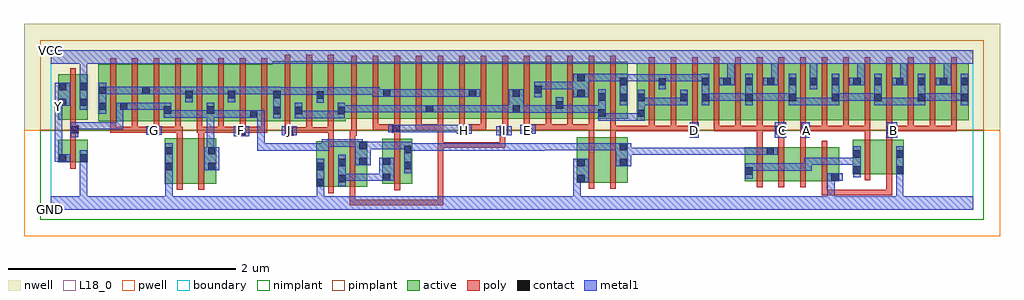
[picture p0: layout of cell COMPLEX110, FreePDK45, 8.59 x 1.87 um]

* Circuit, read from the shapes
.subckt COMPLEX110 A B C D E F G GND H I J VCC Y
M1 GND n1 Y VSUBS nfet w=0.2u l=0.05u
M2 n2 G GND VSUBS nfet w=0.4u l=0.05u
M3 n1 F n2 VSUBS nfet w=0.4u l=0.05u
M4 n3 J GND VSUBS nfet w=0.4u l=0.05u
M5 n1 I n3 VSUBS nfet w=0.4u l=0.05u
M6 n1 H n3 VSUBS nfet w=0.4u l=0.05u
M7 n4 E GND VSUBS nfet w=0.4u l=0.05u
M8 n1 D n4 VSUBS nfet w=0.4u l=0.05u
M9 n1 C n5 VSUBS nfet w=0.3u l=0.05u
M10 n6 C n1 VSUBS nfet w=0.3u l=0.05u
M11 n7 A n6 VSUBS nfet w=0.3u l=0.05u
M12 GND B n7 VSUBS nfet w=0.3u l=0.05u
M13 n8 A n5 VSUBS nfet w=0.3u l=0.05u
M14 GND B n8 VSUBS nfet w=0.3u l=0.05u
M15 VCC n1 Y n9 pfet w=0.4u l=0.05u
M16 n1 G n10 n9 pfet w=0.5u l=0.05u m=4
M17 n1 F n10 n9 pfet w=0.5u l=0.05u m=4
M18 n11 J n10 n9 pfet w=0.532u l=0.05u m=3
M19 n12 I n11 n9 pfet w=0.5u l=0.05u
M20 n10 H n12 n9 pfet w=0.5u l=0.05u
M21 n13 H n10 n9 pfet w=0.5u l=0.05u
M22 n11 I n13 n9 pfet w=0.5u l=0.05u
M23 n14 I n11 n9 pfet w=0.5u l=0.05u
M24 n10 H n14 n9 pfet w=0.5u l=0.05u
M25 n15 H n10 n9 pfet w=0.5u l=0.05u
M26 n11 I n15 n9 pfet w=0.5u l=0.05u
M27 n16 E n11 n9 pfet w=0.5u l=0.05u m=4
M28 n16 D n11 n9 pfet w=0.5u l=0.05u m=4
M29 VCC C n16 n9 pfet w=0.5u l=0.05u m=4
M30 VCC A n16 n9 pfet w=0.5u l=0.05u m=4
M31 VCC B n16 n9 pfet w=0.5u l=0.05u m=4
.ends

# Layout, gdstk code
import gdstk
lib = gdstk.Library(unit=1e-6, precision=1e-09)
def R(c, l, rs):  # rectangles x0, y0, x1, y1
    for r in rs: c.add(gdstk.rectangle(r[:2], r[2:], *l))
def A(c, l, x, y, w, h, nx, ny, dx, dy):  # array of equal rectangles
    R(c, l, [(x+i*dx, y+j*dy, x+i*dx+w, y+j*dy+h) for i in range(nx) for j in range(ny)])
active = (1, 0)
pwell = (2, 0)
nwell = (3, 0)
nimplant = (4, 0)
pimplant = (5, 0)
poly = (9, 0)
contact = (10, 0)
metal1 = (11, 0)
L18_0 = (18, 0)
boundary = (235, 0)

complex110 = lib.new_cell('COMPLEX110')
A(complex110, active, 0.8, 0.777, 0.265, 0.5, 3, 1, 0.19, 0)
A(complex110, active, 5.345, 0.787, 0.265, 0.5, 3, 1, 0.19, 0)
A(complex110, active, 4.06, 0.8, 0.265, 0.5, 3, 1, 0.19, 0)
A(complex110, active, 6.11, 0.807, 0.075, 0.393, 3, 1, 0.38, 0)
R(complex110, active, [(2.337,0.2,2.412,0.6), (2.337,0.2,2.602,0.6), (2.527,0.2,2.787,0.6), (2.527,0.2,2.602,0.492), (2.92,0.225,2.995,0.625), (2.92,0.225,3.18,0.625), (3.105,0.225,3.18,0.625), (1.005,0.227,1.23,0.627), (1.23,0.227,1.455,0.627), (4.63,0.237,4.855,0.637), (4.63,0.237,4.705,0.637), (4.855,0.237,5.08,0.637), (1.005,0.245,1.08,0.627), (1.38,0.245,1.455,0.627), (2.712,0.245,2.787,0.6), (5.005,0.245,5.08,0.637), (6.11,0.25,6.37,0.55), (6.295,0.25,6.525,0.55), (6.525,0.25,6.715,0.55), (6.715,0.25,6.94,0.55), (6.865,0.25,6.94,0.55), (6.11,0.302,6.185,0.55), (7.06,0.312,7.135,0.612), (7.06,0.312,7.285,0.612), (7.285,0.312,7.51,0.612), (7.435,0.312,7.51,0.612), (6.295,0.33,6.37,0.55), (0.067,0.415,0.142,0.615), (0.067,0.415,0.327,0.615), (0.252,0.415,0.327,0.615), (1.955,0.775,2.22,1.307), (2.145,0.775,2.41,1.307), (2.145,0.775,2.22,1.07), (2.335,0.775,2.595,1.307), (2.335,0.775,2.41,1.2), (0.42,0.777,0.68,1.277), (0.42,0.777,0.495,1.2), (0.605,0.777,0.875,1.277), (1.37,0.777,1.63,1.277), (1.555,0.777,1.825,1.277), (1.75,0.777,2.03,1.277), (5.16,0.787,5.42,1.287), (5.16,0.787,5.235,1.07), (5.915,0.787,6.185,1.287), (6.11,0.787,6.375,1.287), (6.3,0.787,6.565,1.287), (6.49,0.787,6.75,1.287), (6.675,0.787,6.945,1.287), (6.87,0.787,7.135,1.287), (7.06,0.787,7.32,1.287), (7.245,0.787,7.51,1.287), (7.435,0.787,7.7,1.287), (7.625,0.787,7.895,1.287), (7.82,0.787,8.08,1.287), (8.005,0.787,8.08,1.2), (0.067,0.79,0.327,1.19), (0.067,0.79,0.142,1.155), (0.252,0.79,0.327,1.155), (2.52,0.8,2.765,1.3), (2.52,0.8,2.595,1.07), (2.765,0.8,2.995,1.3), (2.92,0.8,3.145,1.3), (3.145,0.8,3.37,1.3), (3.295,0.8,3.525,1.3), (3.525,0.8,3.75,1.3), (3.675,0.8,3.905,1.3), (3.905,0.8,4.135,1.3), (4.63,0.8,4.89,1.3), (4.815,0.8,5.08,1.3), (5.005,0.8,5.08,1.2), (1.75,0.802,1.825,1.07), (0.605,0.807,0.68,1.07), (0.8,0.807,0.875,1.2), (0.99,0.807,1.065,1.07), (1.18,0.807,1.255,1.2), (1.37,0.807,1.445,1.07), (1.555,0.807,1.63,1.2), (1.955,0.807,2.03,1.2), (2.92,0.807,2.995,1.2), (3.295,0.807,3.37,1.07), (3.675,0.807,3.75,1.2), (4.06,0.807,4.135,1.2), (4.25,0.807,4.325,1.2), (4.44,0.807,4.515,1.07), (4.63,0.807,4.705,1.2), (4.815,0.807,4.89,1.07), (5.345,0.807,5.42,1.2), (5.535,0.807,5.61,1.07), (5.725,0.807,5.8,1.2), (5.915,0.807,5.99,1.255), (6.3,0.807,6.375,1.255), (6.675,0.807,6.75,1.255), (7.06,0.807,7.135,1.255), (7.245,0.807,7.32,1.2), (7.435,0.807,7.51,1.255), (7.625,0.807,7.7,1.2), (7.82,0.807,7.895,1.255)])
R(complex110, pwell, [(-0.235,-0.235,8.355,0.7)])
R(complex110, nwell, [(-0.235,0.7,8.355,1.635)])
R(complex110, nimplant, [(-0.09,-0.09,8.21,0.7)])
R(complex110, pimplant, [(-0.09,0.7,8.21,1.49)])
A(complex110, poly, 2.06, 0.675, 0.05, 0.095, 3, 1, 0.19, 0)
A(complex110, poly, 0.525, 0.677, 0.05, 0.095, 8, 1, 0.19, 0)
A(complex110, poly, 5.265, 0.687, 0.05, 0.095, 15, 1, 0.19, 0)
A(complex110, poly, 2.835, 0.7, 0.05, 0.095, 6, 1, 0.19, 0)
A(complex110, poly, 4.165, 0.7, 0.05, 0.095, 4, 1, 0.19, 0)
A(complex110, poly, 2.06, 0.72, 0.05, 0.642, 3, 1, 0.19, 0)
A(complex110, poly, 0.525, 0.722, 0.05, 0.61, 8, 1, 0.19, 0)
A(complex110, poly, 5.265, 0.732, 0.05, 0.61, 15, 1, 0.19, 0)
A(complex110, poly, 2.645, 0.745, 0.05, 0.61, 13, 1, 0.19, 0)
R(complex110, poly, [(2.632,0.037,2.682,0.087), (2.632,0.037,2.682,0.087), (2.632,0.037,2.682,0.087), (2.632,0.037,2.827,0.087), (2.632,0.037,2.682,0.195), (2.777,0.037,2.827,0.087), (2.777,0.037,2.827,0.087), (2.777,0.037,2.827,0.087), (2.777,0.037,3.017,0.087), (2.967,0.037,3.017,0.087), (2.967,0.037,3.017,0.087), (2.967,0.037,3.017,0.087), (2.967,0.037,3.207,0.087), (3.157,0.037,3.207,0.087), (3.157,0.037,3.207,0.087), (3.157,0.037,3.207,0.087), (3.157,0.037,3.455,0.087), (3.405,0.037,3.455,0.087), (3.405,0.037,3.455,0.087), (3.405,0.037,3.455,0.087), (3.405,0.037,3.455,0.592), (6.785,0.125,6.835,0.175), (6.785,0.125,6.835,0.175), (6.785,0.125,6.835,0.175), (6.785,0.125,6.835,0.245), (6.785,0.125,6.967,0.175), (6.917,0.125,6.967,0.175), (6.917,0.125,6.967,0.175), (6.917,0.125,6.967,0.175), (6.917,0.125,7.272,0.175), (7.222,0.125,7.272,0.175), (7.222,0.125,7.272,0.175), (7.222,0.125,7.272,0.175), (7.222,0.125,7.405,0.175), (7.355,0.125,7.405,0.175), (7.355,0.125,7.405,0.307), (2.442,0.145,2.492,0.655), (2.632,0.145,2.682,0.655), (3.025,0.17,3.075,0.68), (1.11,0.172,1.16,0.682), (1.3,0.172,1.35,0.682), (4.735,0.182,4.785,0.692), (4.925,0.182,4.975,0.692), (6.215,0.195,6.265,0.605), (6.405,0.195,6.455,0.605), (6.595,0.195,6.645,0.71), (6.785,0.195,6.835,0.605), (7.165,0.257,7.215,0.667), (7.355,0.257,7.405,0.667), (0.172,0.36,0.222,0.67), (3.405,0.542,3.455,0.592), (3.405,0.542,3.455,0.592), (3.405,0.542,3.455,0.592), (3.405,0.542,3.455,0.592), (3.405,0.542,3.455,0.592), (3.405,0.542,3.625,0.592), (3.405,0.542,3.455,0.75), (3.575,0.542,3.625,0.592), (3.575,0.542,3.625,0.592), (3.575,0.542,3.625,0.592), (3.575,0.542,3.87,0.592), (3.82,0.542,3.87,0.592), (3.82,0.542,3.87,0.592), (3.82,0.542,3.87,0.592), (3.82,0.542,4.002,0.592), (3.952,0.542,4.002,0.592), (3.952,0.542,4.002,0.592), (3.952,0.542,4.002,0.592), (3.952,0.542,4.002,0.592), (3.952,0.542,4.002,0.592), (3.952,0.542,4.002,0.712), (6.215,0.555,6.265,0.737), (6.405,0.555,6.455,0.712), (2.442,0.605,2.492,0.725), (2.632,0.605,2.682,0.7), (7.165,0.617,7.215,0.737), (7.355,0.617,7.405,0.712), (0.172,0.62,0.222,0.715), (3.025,0.63,3.075,0.725), (1.11,0.632,1.16,0.727), (1.3,0.632,1.35,0.727), (4.735,0.642,4.785,0.75), (4.925,0.642,4.975,0.737), (2.06,0.65,2.137,0.725), (2.632,0.65,2.695,0.7), (2.645,0.65,2.695,0.795), (0.872,0.652,0.955,0.727), (1.642,0.652,1.717,0.727), (6.595,0.66,6.645,0.71), (6.595,0.66,6.675,0.737), (3.952,0.662,4.027,0.737), (5.62,0.662,5.695,0.737), (6.377,0.662,6.455,0.737), (7.355,0.662,7.43,0.737), (0.172,0.665,0.247,0.74), (2.087,0.675,2.3,0.725), (2.25,0.675,2.3,0.725), (2.25,0.675,2.3,0.725), (2.25,0.675,2.3,0.725), (2.25,0.675,2.49,0.725), (2.44,0.675,2.49,0.725), (2.44,0.675,2.49,0.725), (2.44,0.675,2.492,0.725), (3,0.675,3.075,0.75), (3.595,0.675,3.677,0.75), (4.162,0.675,4.237,0.75), (0.525,0.677,0.575,0.727), (0.525,0.677,0.575,0.727), (0.525,0.677,0.575,0.727), (0.525,0.677,0.765,0.727), (0.715,0.677,0.765,0.727), (0.715,0.677,0.765,0.727), (0.715,0.677,0.765,0.727), (0.715,0.677,0.922,0.727), (0.905,0.677,0.955,0.727), (0.905,0.677,0.955,0.727), (0.905,0.677,1.145,0.727), (1.095,0.677,1.16,0.727), (1.285,0.677,1.35,0.727), (1.3,0.677,1.525,0.727), (1.475,0.677,1.525,0.727), (1.475,0.677,1.525,0.727), (1.475,0.677,1.525,0.727), (1.475,0.677,1.692,0.727), (1.642,0.677,1.692,0.727), (1.642,0.677,1.692,0.727), (1.667,0.677,1.902,0.727), (1.852,0.677,1.902,0.727), (1.852,0.677,1.902,0.727), (1.852,0.677,1.905,0.727), (3.975,0.687,4.025,0.795), (4.925,0.687,4.975,0.737), (4.925,0.687,4.975,0.737), (4.925,0.687,4.975,0.737), (4.925,0.687,5.315,0.737), (4.925,0.687,4.975,0.795), (5.265,0.687,5.315,0.737), (5.265,0.687,5.315,0.737), (5.265,0.687,5.315,0.737), (5.265,0.687,5.505,0.737), (5.455,0.687,5.505,0.737), (5.455,0.687,5.505,0.737), (5.455,0.687,5.505,0.737), (5.455,0.687,5.67,0.737), (5.62,0.687,5.67,0.737), (5.62,0.687,5.67,0.737), (5.835,0.687,5.885,0.737), (5.835,0.687,6.075,0.737), (6.025,0.687,6.075,0.737), (6.025,0.687,6.075,0.737), (6.025,0.687,6.075,0.737), (6.025,0.687,6.265,0.737), (6.215,0.687,6.265,0.737), (6.215,0.687,6.265,0.737), (6.215,0.687,6.265,0.737), (6.215,0.687,6.427,0.737), (6.377,0.687,6.427,0.737), (6.377,0.687,6.427,0.737), (6.625,0.687,6.675,0.737), (6.625,0.687,6.675,0.737), (6.625,0.687,6.835,0.737), (6.785,0.687,6.835,0.737), (6.785,0.687,6.835,0.737), (6.785,0.687,6.835,0.737), (6.785,0.687,7.025,0.737), (6.975,0.687,7.025,0.737), (6.975,0.687,7.025,0.737), (6.975,0.687,7.025,0.737), (6.975,0.687,7.215,0.737), (7.165,0.687,7.215,0.737), (7.38,0.687,7.595,0.737), (7.545,0.687,7.595,0.737), (7.545,0.687,7.595,0.737), (7.545,0.687,7.595,0.737), (7.545,0.687,7.785,0.737), (7.735,0.687,7.785,0.737), (7.735,0.687,7.785,0.737), (7.735,0.687,7.785,0.737), (7.735,0.687,7.975,0.737), (7.925,0.687,7.975,0.737), (7.925,0.687,7.975,0.737), (7.925,0.687,7.975,0.737), (0.172,0.69,0.222,0.785), (2.835,0.7,2.885,0.75), (2.835,0.7,2.885,0.75), (2.835,0.7,2.885,0.75), (2.835,0.7,3.05,0.75), (3.215,0.7,3.265,0.75), (3.215,0.7,3.265,0.75), (3.215,0.7,3.265,0.75), (3.215,0.7,3.455,0.75), (3.405,0.7,3.455,0.75), (3.627,0.7,3.835,0.75), (3.785,0.7,3.835,0.75), (3.785,0.7,3.835,0.75), (3.785,0.7,3.835,0.75), (4.187,0.7,4.237,0.75), (4.187,0.7,4.237,0.75), (4.187,0.7,4.405,0.75), (4.355,0.7,4.405,0.75), (4.355,0.7,4.405,0.75), (4.355,0.7,4.405,0.75), (4.355,0.7,4.595,0.75), (4.545,0.7,4.595,0.75), (4.545,0.7,4.595,0.75), (4.545,0.7,4.595,0.75), (4.545,0.7,4.785,0.75), (4.735,0.7,4.785,0.75), (0.172,0.735,0.222,1.245)])
A(complex110, contact, 6.115, 0.955, 0.065, 0.065, 3, 1, 0.38, 0)
A(complex110, contact, 7.25, 0.955, 0.065, 0.065, 3, 1, 0.38, 0)
A(complex110, contact, 6.115, 1.095, 0.065, 0.065, 3, 1, 0.19, 0)
A(complex110, contact, 7.25, 1.095, 0.065, 0.065, 3, 1, 0.19, 0)
R(complex110, contact, [(2.342,0.205,2.407,0.27), (2.532,0.24,2.597,0.305), (4.635,0.242,4.7,0.307), (2.925,0.252,2.99,0.317), (6.87,0.255,6.935,0.32), (6.115,0.307,6.18,0.372), (7.065,0.317,7.13,0.382), (7.44,0.317,7.505,0.382), (1.01,0.345,1.075,0.41), (1.385,0.345,1.45,0.41), (2.342,0.345,2.407,0.41), (3.11,0.355,3.175,0.42), (2.532,0.38,2.597,0.445), (5.01,0.38,5.075,0.445), (4.635,0.382,4.7,0.447), (2.717,0.39,2.782,0.455), (2.925,0.392,2.99,0.457), (0.072,0.42,0.137,0.485), (0.257,0.42,0.322,0.485), (7.065,0.457,7.13,0.522), (7.44,0.457,7.505,0.522), (6.3,0.48,6.365,0.545), (1.01,0.485,1.075,0.55), (1.385,0.485,1.45,0.55), (3.11,0.495,3.175,0.56), (5.01,0.52,5.075,0.585), (2.717,0.53,2.782,0.595), (2.067,0.655,2.132,0.72), (0.877,0.657,0.942,0.722), (1.647,0.657,1.712,0.722), (6.605,0.665,6.67,0.73), (3.957,0.667,4.022,0.732), (5.625,0.667,5.69,0.732), (6.382,0.667,6.447,0.732), (7.36,0.667,7.425,0.732), (0.177,0.67,0.242,0.735), (3.005,0.68,3.07,0.745), (3.607,0.68,3.672,0.745), (4.167,0.68,4.232,0.745), (1.755,0.807,1.82,0.872), (5.165,0.815,5.23,0.88), (4.82,0.817,4.885,0.882), (1.96,0.84,2.025,0.905), (2.15,0.84,2.215,0.905), (2.525,0.84,2.59,0.905), (0.995,0.842,1.06,0.907), (1.375,0.842,1.44,0.907), (4.065,0.852,4.13,0.917), (3.3,0.855,3.365,0.92), (0.425,0.877,0.49,0.942), (0.61,0.877,0.675,0.942), (4.445,0.887,4.51,0.952), (0.072,0.912,0.137,0.977), (0.257,0.912,0.322,0.977), (5.01,0.955,5.075,1.02), (5.165,0.955,5.23,1.02), (5.54,0.955,5.605,1.02), (5.73,0.955,5.795,1.02), (4.82,0.957,4.885,1.022), (2.34,0.977,2.405,1.042), (1.185,0.98,1.25,1.045), (1.56,0.98,1.625,1.045), (1.96,0.98,2.025,1.045), (4.635,0.99,4.7,1.055), (2.925,0.992,2.99,1.057), (3.68,0.992,3.745,1.057), (4.065,0.992,4.13,1.057), (0.805,1.015,0.87,1.08), (0.425,1.017,0.49,1.082), (4.255,1.025,4.32,1.09), (0.072,1.052,0.137,1.117), (0.257,1.052,0.322,1.117), (5.35,1.092,5.415,1.157), (5.01,1.095,5.075,1.16), (5.73,1.095,5.795,1.16), (5.92,1.095,5.985,1.16), (6.68,1.095,6.745,1.16), (6.875,1.095,6.94,1.16), (7.065,1.095,7.13,1.16), (7.825,1.095,7.89,1.16), (8.01,1.095,8.075,1.16), (4.635,1.13,4.7,1.195)])
A(complex110, metal1, 6.115, 0.92, 0.065, 0.275, 3, 1, 0.38, 0)
A(complex110, metal1, 7.25, 0.92, 0.065, 0.275, 3, 1, 0.38, 0)
R(complex110, metal1, [(0,0,8.12,0.115), (0.257,0.05,0.322,0.115), (0.257,0.05,0.322,0.115), (0.257,0.05,0.322,0.115), (0.257,0.05,0.322,0.115), (0.257,0.05,0.322,0.115), (0.257,0.05,0.322,0.115), (0.257,0.05,0.322,0.45), (1.01,0.05,1.075,0.115), (1.01,0.05,1.075,0.115), (1.01,0.05,1.075,0.375), (2.342,0.05,2.407,0.115), (2.342,0.05,2.407,0.115), (2.342,0.05,2.407,0.235), (4.6,0.05,4.665,0.307), (6.835,0.05,6.9,0.115), (6.835,0.05,6.9,0.115), (6.835,0.05,6.9,0.115), (6.835,0.05,6.9,0.115), (6.835,0.05,6.9,0.32), (7.44,0.05,7.505,0.115), (7.44,0.05,7.505,0.115), (7.44,0.05,7.505,0.115), (7.44,0.05,7.505,0.115), (7.44,0.05,7.505,0.347), (2.342,0.17,2.407,0.445), (2.532,0.205,2.597,0.48), (4.6,0.242,4.665,0.307), (4.6,0.242,4.665,0.307), (4.6,0.242,4.735,0.447), (2.532,0.252,2.735,0.317), (2.67,0.252,2.735,0.317), (2.67,0.252,2.735,0.317), (2.67,0.252,2.735,0.317), (2.67,0.252,2.897,0.317), (2.832,0.252,2.897,0.317), (2.832,0.252,2.955,0.317), (2.89,0.252,3.025,0.457), (6.835,0.255,6.97,0.32), (6.115,0.272,6.18,0.407), (7.065,0.282,7.13,0.557), (7.44,0.282,7.505,0.557), (1.01,0.31,1.075,0.585), (3.11,0.32,3.175,0.595), (6.115,0.342,6.18,0.407), (6.115,0.342,6.18,0.407), (6.115,0.342,6.33,0.407), (6.265,0.342,6.33,0.407), (6.265,0.342,6.33,0.407), (6.265,0.342,6.33,0.407), (6.265,0.342,6.56,0.407), (6.495,0.342,6.56,0.407), (6.495,0.342,6.56,0.407), (6.495,0.342,6.56,0.407), (6.495,0.342,6.697,0.407), (6.632,0.342,6.697,0.457), (1.35,0.345,1.485,0.55), (4.975,0.38,5.11,0.585), (0.257,0.385,0.322,0.52), (2.682,0.39,2.817,0.595), (6.632,0.392,6.697,0.457), (6.632,0.392,6.697,0.457), (6.632,0.392,6.94,0.457), (6.875,0.392,6.94,0.457), (6.875,0.392,7.13,0.457), (7.065,0.392,7.13,0.457), (7.065,0.392,7.13,0.457), (0.037,0.42,0.172,0.485), (0.037,0.42,0.102,0.907), (5.045,0.48,5.277,0.545), (5.212,0.48,5.277,0.545), (5.212,0.48,5.415,0.545), (5.35,0.48,5.415,0.545), (5.35,0.48,5.415,0.545), (5.35,0.48,5.415,0.545), (5.35,0.48,5.552,0.545), (5.487,0.48,5.552,0.545), (5.487,0.48,5.552,0.545), (5.487,0.48,5.552,0.545), (5.487,0.48,5.767,0.545), (5.702,0.48,5.767,0.545), (5.702,0.48,5.767,0.545), (5.702,0.48,5.767,0.545), (5.702,0.48,5.905,0.545), (5.84,0.48,5.905,0.545), (5.84,0.48,6.042,0.545), (5.977,0.48,6.042,0.545), (5.977,0.48,6.042,0.545), (5.977,0.48,6.042,0.545), (5.977,0.48,6.192,0.545), (6.127,0.48,6.192,0.545), (6.127,0.48,6.192,0.545), (6.127,0.48,6.192,0.545), (6.127,0.48,6.33,0.545), (6.265,0.48,6.4,0.545), (1.375,0.485,1.44,0.872), (1.82,0.517,1.885,0.582), (1.82,0.517,1.885,0.582), (1.82,0.517,1.885,0.582), (1.82,0.517,1.885,0.582), (1.82,0.517,1.885,0.582), (1.82,0.517,2.025,0.582), (1.82,0.517,1.885,0.872), (1.96,0.517,2.025,0.582), (1.96,0.517,2.025,0.582), (1.96,0.517,2.025,0.582), (1.96,0.517,2.267,0.582), (2.202,0.517,2.267,0.582), (2.202,0.517,2.452,0.582), (2.387,0.517,2.452,0.617), (3.11,0.517,3.312,0.582), (3.247,0.517,3.312,0.582), (3.247,0.517,3.312,0.582), (3.247,0.517,3.312,0.582), (3.247,0.517,3.5,0.582), (3.435,0.517,3.5,0.582), (3.435,0.517,3.572,0.582), (3.507,0.517,3.572,0.582), (3.507,0.517,3.71,0.582), (3.645,0.517,3.71,0.582), (3.645,0.517,3.71,0.582), (3.645,0.517,3.71,0.582), (3.645,0.517,3.847,0.582), (3.782,0.517,3.847,0.582), (3.782,0.517,3.847,0.582), (3.782,0.517,3.847,0.582), (3.782,0.517,3.985,0.582), (3.92,0.517,3.985,0.582), (3.92,0.517,4.122,0.582), (4.057,0.517,4.122,0.582), (4.057,0.517,4.122,0.582), (4.057,0.517,4.122,0.582), (4.057,0.517,4.342,0.582), (4.277,0.517,4.342,0.585), (4.277,0.52,4.342,0.585), (4.277,0.52,4.342,0.585), (4.277,0.52,4.527,0.585), (4.462,0.52,4.527,0.585), (4.462,0.52,4.527,0.585), (4.462,0.52,4.527,0.585), (4.462,0.52,4.747,0.585), (4.682,0.52,4.747,0.585), (4.682,0.52,4.747,0.585), (4.682,0.52,4.747,0.585), (4.682,0.52,4.885,0.585), (4.82,0.52,4.885,0.585), (4.82,0.52,5.04,0.585), (4.975,0.52,5.04,0.585), (4.975,0.52,5.04,0.585), (2.682,0.53,2.747,0.595), (2.682,0.53,2.747,0.617), (2.752,0.53,2.897,0.595), (2.832,0.53,2.897,0.595), (2.832,0.53,3.037,0.595), (2.972,0.53,3.037,0.595), (2.972,0.53,3.037,0.595), (2.972,0.53,3.037,0.595), (2.972,0.53,3.175,0.595), (2.387,0.552,2.452,0.617), (2.387,0.552,2.452,0.617), (2.387,0.552,2.597,0.617), (2.532,0.552,2.597,0.617), (2.532,0.552,2.597,0.617), (2.532,0.552,2.597,0.617), (2.532,0.552,2.747,0.617), (6.605,0.63,6.682,0.767), (5.625,0.632,5.705,0.767), (6.372,0.632,6.472,0.767), (7.36,0.632,7.452,0.767), (0.177,0.635,0.242,0.77), (1.612,0.647,1.747,0.732), (2.032,0.655,2.167,0.732), (3.922,0.655,4.057,0.732), (0.842,0.657,0.977,0.735), (3.572,0.667,3.707,0.745), (4.132,0.667,4.267,0.745), (2.97,0.68,3.105,0.745), (3.04,0.68,3.175,0.745), (3.11,0.68,3.175,0.745), (3.11,0.68,3.335,0.745), (3.27,0.68,3.335,0.745), (3.27,0.68,3.335,0.745), (3.27,0.68,3.335,0.745), (3.27,0.68,3.5,0.745), (3.435,0.68,3.5,0.745), (3.435,0.68,3.537,0.745), (3.472,0.68,3.537,0.745), (3.472,0.68,3.637,0.745), (0.177,0.705,0.242,0.77), (0.177,0.705,0.242,0.77), (0.177,0.705,0.502,0.77), (0.437,0.705,0.502,0.77), (0.437,0.705,0.502,0.77), (0.437,0.705,0.502,0.77), (0.437,0.705,0.64,0.77), (0.575,0.705,0.64,0.77), (0.575,0.705,0.64,0.942), (5.165,0.78,5.23,1.055), (4.82,0.782,4.885,0.847), (4.82,0.782,4.885,0.847), (4.82,0.782,4.885,1.057), (4.82,0.782,5.23,0.847), (5.165,0.782,5.23,0.847), (5.165,0.782,5.23,0.847), (1.96,0.805,2.025,1.08), (2.15,0.805,2.215,0.94), (2.15,0.805,2.452,0.87), (2.387,0.805,2.452,0.87), (2.387,0.805,2.452,0.87), (2.387,0.805,2.452,0.87), (2.387,0.805,2.59,0.87), (2.525,0.805,2.59,0.87), (2.525,0.805,2.59,0.87), (2.525,0.805,2.59,0.94), (0.995,0.807,1.06,0.872), (0.995,0.807,1.06,0.872), (0.995,0.807,1.06,0.942), (0.995,0.807,1.277,0.872), (1.212,0.807,1.277,0.872), (1.212,0.807,1.277,0.872), (1.212,0.807,1.277,0.872), (1.212,0.807,1.44,0.872), (1.375,0.807,1.44,0.872), (1.375,0.807,1.44,0.872), (1.375,0.807,1.44,0.872), (1.375,0.807,1.44,0.872), (1.375,0.807,1.44,0.872), (1.375,0.807,1.44,0.872), (1.375,0.807,1.44,0.942), (1.375,0.807,1.647,0.872), (1.582,0.807,1.647,0.872), (1.582,0.807,1.647,0.872), (1.582,0.807,1.647,0.872), (1.582,0.807,1.785,0.872), (1.72,0.807,1.855,0.872), (1.79,0.807,1.855,0.872), (1.79,0.807,1.885,0.872), (0.037,0.842,0.102,0.977), (0.425,0.842,0.49,1.117), (4.03,0.852,4.165,1.057), (4.1,0.852,4.165,0.917), (4.1,0.852,4.165,0.917), (4.1,0.852,4.342,0.917), (4.277,0.852,4.342,0.917), (4.277,0.852,4.342,0.917), (4.277,0.852,4.342,0.917), (4.277,0.852,4.51,0.917), (4.445,0.852,4.51,0.917), (4.445,0.852,4.51,0.917), (4.445,0.852,4.51,0.987), (4.445,0.852,4.747,0.917), (4.682,0.852,4.747,0.917), (4.682,0.852,4.747,0.917), (4.682,0.852,4.747,0.917), (4.682,0.852,4.885,0.917), (2.525,0.855,2.76,0.92), (2.695,0.855,2.76,0.92), (2.695,0.855,2.76,0.92), (2.695,0.855,2.76,0.92), (2.695,0.855,2.897,0.92), (2.832,0.855,2.897,0.92), (2.832,0.855,3.035,0.92), (2.97,0.855,3.035,0.92), (2.97,0.855,3.035,0.92), (2.97,0.855,3.035,0.92), (2.97,0.855,3.175,0.92), (3.11,0.855,3.175,0.92), (3.11,0.855,3.33,0.92), (3.265,0.855,3.33,0.92), (3.265,0.855,3.33,0.92), (3.265,0.855,3.4,0.92), (3.335,0.855,3.472,0.92), (3.407,0.855,3.472,0.92), (3.407,0.855,3.572,0.92), (3.507,0.855,3.572,0.92), (3.507,0.855,3.71,0.92), (3.645,0.855,3.71,0.92), (3.645,0.855,3.71,0.92), (3.645,0.855,3.71,0.92), (3.645,0.855,3.847,0.92), (3.782,0.855,3.847,0.92), (3.782,0.855,3.847,0.92), (3.782,0.855,3.847,0.92), (3.782,0.855,3.985,0.92), (3.92,0.855,3.985,0.92), (3.92,0.855,4.095,0.92), (0.257,0.877,0.322,1.152), (0.575,0.877,0.71,0.942), (0.632,0.877,0.697,0.942), (0.632,0.877,0.697,0.942), (0.632,0.877,0.697,0.942), (0.632,0.877,0.697,0.942), (0.632,0.877,0.922,0.942), (0.857,0.877,0.922,0.942), (0.857,0.877,0.922,0.942), (0.857,0.877,0.922,0.942), (0.857,0.877,1.06,0.942), (0.037,0.912,0.102,0.977), (0.037,0.912,0.172,1.117), (5.01,0.92,5.075,1.195), (5.165,0.92,5.415,0.985), (5.35,0.92,5.415,0.985), (5.35,0.92,5.415,0.985), (5.35,0.92,5.415,0.985), (5.35,0.92,5.552,0.985), (5.487,0.92,5.552,0.985), (5.487,0.92,5.605,0.985), (5.54,0.92,5.605,1.055), (5.73,0.92,5.795,1.195), (6.495,0.92,6.56,0.985), (6.495,0.92,6.56,0.985), (6.495,0.92,6.762,0.985), (6.697,0.92,6.762,0.985), (6.697,0.92,6.94,0.985), (6.875,0.92,6.94,0.985), (6.875,0.92,6.94,0.985), (7.25,0.92,7.452,0.985), (7.387,0.92,7.452,0.985), (7.387,0.92,7.452,0.985), (7.387,0.92,7.452,0.985), (7.387,0.92,7.695,0.985), (7.63,0.92,7.695,0.985), (7.63,0.92,7.695,0.985), (2.34,0.942,2.405,1.077), (1.185,0.945,1.25,1.08), (1.56,0.945,1.625,1.08), (5.73,0.957,5.905,1.022), (5.84,0.957,5.905,1.022), (5.84,0.957,6.042,1.022), (5.977,0.957,6.042,1.022), (5.977,0.957,6.042,1.022), (5.977,0.957,6.042,1.022), (5.977,0.957,6.18,1.022), (6.115,0.957,6.18,1.022), (6.115,0.957,6.18,1.022), (6.115,0.957,6.422,1.022), (6.357,0.957,6.422,1.022), (6.357,0.957,6.422,1.022), (6.357,0.957,6.422,1.022), (6.357,0.957,6.56,1.022), (6.875,0.957,7.077,1.022), (7.012,0.957,7.077,1.022), (7.012,0.957,7.077,1.022), (7.012,0.957,7.077,1.022), (7.012,0.957,7.285,1.022), (7.22,0.957,7.285,1.022), (7.22,0.957,7.315,1.022), (7.63,0.957,7.937,1.022), (7.872,0.957,7.937,1.022), (7.872,0.957,7.937,1.022), (7.872,0.957,7.937,1.022), (7.872,0.957,8.075,1.022), (8.01,0.957,8.075,1.022), (8.01,0.957,8.075,1.022), (4.255,0.99,4.32,1.125), (4.6,0.99,4.735,1.195), (2.832,0.992,2.955,1.057), (2.832,0.992,2.897,1.077), (2.89,0.992,3.025,1.057), (2.96,0.992,3.175,1.057), (3.11,0.992,3.175,1.057), (3.11,0.992,3.175,1.057), (3.11,0.992,3.175,1.057), (3.11,0.992,3.335,1.057), (3.27,0.992,3.335,1.057), (3.27,0.992,3.335,1.057), (3.27,0.992,3.335,1.057), (3.27,0.992,3.472,1.057), (3.407,0.992,3.472,1.057), (3.407,0.992,3.572,1.057), (3.507,0.992,3.572,1.057), (3.507,0.992,3.71,1.057), (3.645,0.992,3.71,1.057), (3.645,0.992,3.71,1.057), (3.645,0.992,3.78,1.057), (1.96,1.012,2.025,1.077), (1.96,1.012,2.025,1.077), (1.96,1.012,2.162,1.077), (2.097,1.012,2.162,1.077), (2.097,1.012,2.405,1.077), (2.34,1.012,2.405,1.077), (2.34,1.012,2.405,1.077), (2.34,1.012,2.597,1.077), (2.532,1.012,2.597,1.077), (2.532,1.012,2.597,1.077), (2.532,1.012,2.597,1.077), (2.532,1.012,2.735,1.077), (2.67,1.012,2.735,1.077), (2.67,1.012,2.735,1.077), (2.67,1.012,2.735,1.077), (2.67,1.012,2.897,1.077), (0.425,1.015,0.56,1.08), (0.495,1.015,0.56,1.08), (0.495,1.015,0.697,1.08), (0.632,1.015,0.697,1.08), (0.632,1.015,0.697,1.08), (0.632,1.015,0.697,1.08), (0.632,1.015,0.835,1.08), (0.77,1.015,0.905,1.08), (0.84,1.015,0.905,1.08), (0.84,1.015,0.905,1.08), (0.84,1.015,1.112,1.08), (1.047,1.015,1.112,1.08), (1.047,1.015,1.112,1.08), (1.047,1.015,1.112,1.08), (1.047,1.015,1.25,1.08), (1.185,1.015,1.25,1.08), (1.185,1.015,1.25,1.08), (1.185,1.015,1.487,1.08), (1.422,1.015,1.487,1.08), (1.422,1.015,1.487,1.08), (1.422,1.015,1.487,1.08), (1.422,1.015,1.625,1.08), (1.56,1.015,1.625,1.08), (1.56,1.015,1.625,1.08), (1.56,1.015,1.887,1.08), (1.822,1.015,1.887,1.08), (1.822,1.015,1.887,1.08), (1.822,1.015,1.887,1.08), (1.822,1.015,2.025,1.08), (5.35,1.057,5.415,1.192), (4.255,1.06,4.32,1.125), (4.255,1.06,4.32,1.125), (4.255,1.06,4.48,1.125), (4.415,1.06,4.48,1.125), (4.415,1.06,4.48,1.125), (4.415,1.06,4.48,1.125), (4.415,1.06,4.665,1.125), (6.68,1.06,6.745,1.195), (0.257,1.087,0.322,1.35), (5.885,1.095,6.02,1.16), (5.955,1.095,6.02,1.35), (6.27,1.095,6.405,1.16), (6.34,1.095,6.405,1.35), (7.03,1.095,7.165,1.16), (7.1,1.095,7.165,1.35), (7.405,1.095,7.54,1.16), (7.475,1.095,7.54,1.35), (7.79,1.095,7.925,1.16), (7.86,1.095,7.925,1.35), (5.01,1.127,5.212,1.192), (5.147,1.127,5.212,1.192), (5.147,1.127,5.415,1.192), (5.35,1.127,5.415,1.192), (5.35,1.127,5.415,1.192), (5.35,1.127,5.552,1.192), (5.487,1.127,5.552,1.192), (5.487,1.127,5.552,1.192), (5.487,1.127,5.552,1.192), (5.487,1.127,5.767,1.192), (5.702,1.127,5.767,1.192), (5.702,1.127,5.795,1.192), (4.67,1.13,4.735,1.195), (4.67,1.13,4.735,1.195), (4.67,1.13,4.885,1.195), (4.82,1.13,4.885,1.195), (4.82,1.13,5.075,1.195), (5.01,1.13,5.075,1.195), (5.01,1.13,5.075,1.195), (6.68,1.13,6.745,1.35), (0,1.285,8.12,1.4)])
R(complex110, L18_0, [(0,0,8.12,0.115), (0.257,0.05,0.322,0.115), (0.257,0.05,0.322,0.115), (0.257,0.05,0.322,0.115), (0.257,0.05,0.322,0.115), (0.257,0.05,0.322,0.115), (0.257,0.05,0.322,0.115), (0.257,0.05,0.322,0.45), (1.01,0.05,1.075,0.115), (1.01,0.05,1.075,0.115), (1.01,0.05,1.075,0.375), (2.342,0.05,2.407,0.115), (2.342,0.05,2.407,0.115), (2.342,0.05,2.407,0.235), (4.6,0.05,4.665,0.307), (6.835,0.05,6.9,0.115), (6.835,0.05,6.9,0.115), (6.835,0.05,6.9,0.115), (6.835,0.05,6.9,0.115), (6.835,0.05,6.9,0.32), (7.44,0.05,7.505,0.115), (7.44,0.05,7.505,0.115), (7.44,0.05,7.505,0.115), (7.44,0.05,7.505,0.115), (7.44,0.05,7.505,0.347), (2.342,0.17,2.407,0.445), (4.6,0.242,4.735,0.447), (4.6,0.242,4.665,0.307), (4.6,0.242,4.665,0.307), (6.835,0.255,6.97,0.32), (7.44,0.282,7.505,0.557), (1.01,0.31,1.075,0.585), (0.257,0.385,0.322,0.52), (0.037,0.42,0.172,0.485), (0.037,0.42,0.102,0.907), (6.605,0.63,6.682,0.767), (5.625,0.632,5.705,0.767), (6.372,0.632,6.472,0.767), (7.36,0.632,7.452,0.767), (1.612,0.647,1.747,0.732), (2.032,0.655,2.167,0.732), (3.922,0.655,4.057,0.732), (0.842,0.657,0.977,0.735), (0.877,0.667,0.942,0.732), (1.647,0.667,1.712,0.732), (2.067,0.667,2.132,0.732), (3.572,0.667,3.707,0.745), (3.607,0.667,3.672,0.732), (3.957,0.667,4.022,0.732), (4.132,0.667,4.267,0.745), (4.167,0.667,4.232,0.732), (5.637,0.667,5.702,0.732), (6.407,0.667,6.472,0.732), (6.617,0.667,6.682,0.732), (7.387,0.667,7.452,0.732), (2.97,0.68,3.105,0.745), (3.04,0.68,3.175,0.745), (3.11,0.68,3.175,0.745), (3.11,0.68,3.335,0.745), (3.27,0.68,3.335,0.745), (3.27,0.68,3.335,0.745), (3.27,0.68,3.335,0.745), (3.27,0.68,3.5,0.745), (3.435,0.68,3.5,0.745), (3.435,0.68,3.537,0.745), (3.472,0.68,3.537,0.745), (3.472,0.68,3.637,0.745), (0.037,0.842,0.102,0.977), (0.037,0.877,0.102,0.942), (0.257,0.877,0.322,1.152), (0.037,0.912,0.172,1.117), (0.037,0.912,0.102,0.977), (6.68,1.06,6.745,1.195), (0.257,1.087,0.322,1.35), (5.885,1.095,6.02,1.16), (5.955,1.095,6.02,1.35), (6.27,1.095,6.405,1.16), (6.34,1.095,6.405,1.35), (7.03,1.095,7.165,1.16), (7.1,1.095,7.165,1.35), (7.405,1.095,7.54,1.16), (7.475,1.095,7.54,1.35), (7.79,1.095,7.925,1.16), (7.86,1.095,7.925,1.35), (6.68,1.13,6.745,1.35), (0,1.285,8.12,1.4)])
R(complex110, boundary, [(0,0,8.12,1.4)])
complex110.add(gdstk.Label('A', (6.65,0.7), layer=11, texttype=0))
complex110.add(gdstk.Label('B', (7.42,0.7), layer=11, texttype=0))
complex110.add(gdstk.Label('C', (6.44,0.7), layer=11, texttype=0))
complex110.add(gdstk.Label('D', (5.67,0.7), layer=11, texttype=0))
complex110.add(gdstk.Label('E', (4.2,0.7), layer=11, texttype=0))
complex110.add(gdstk.Label('F', (1.68,0.7), layer=11, texttype=0))
complex110.add(gdstk.Label('G', (0.91,0.7), layer=11, texttype=0))
complex110.add(gdstk.Label('H', (3.64,0.7), layer=11, texttype=0))
complex110.add(gdstk.Label('I', (3.99,0.7), layer=11, texttype=0))
complex110.add(gdstk.Label('J', (2.1,0.7), layer=11, texttype=0))
complex110.add(gdstk.Label('Y', (0.07,0.91), layer=11, texttype=0))
complex110.add(gdstk.Label('VCC', (0,1.4), layer=11, texttype=0))
complex110.add(gdstk.Label('GND', (0,0), layer=11, texttype=0))

lib.write_gds('COMPLEX110.gds')
